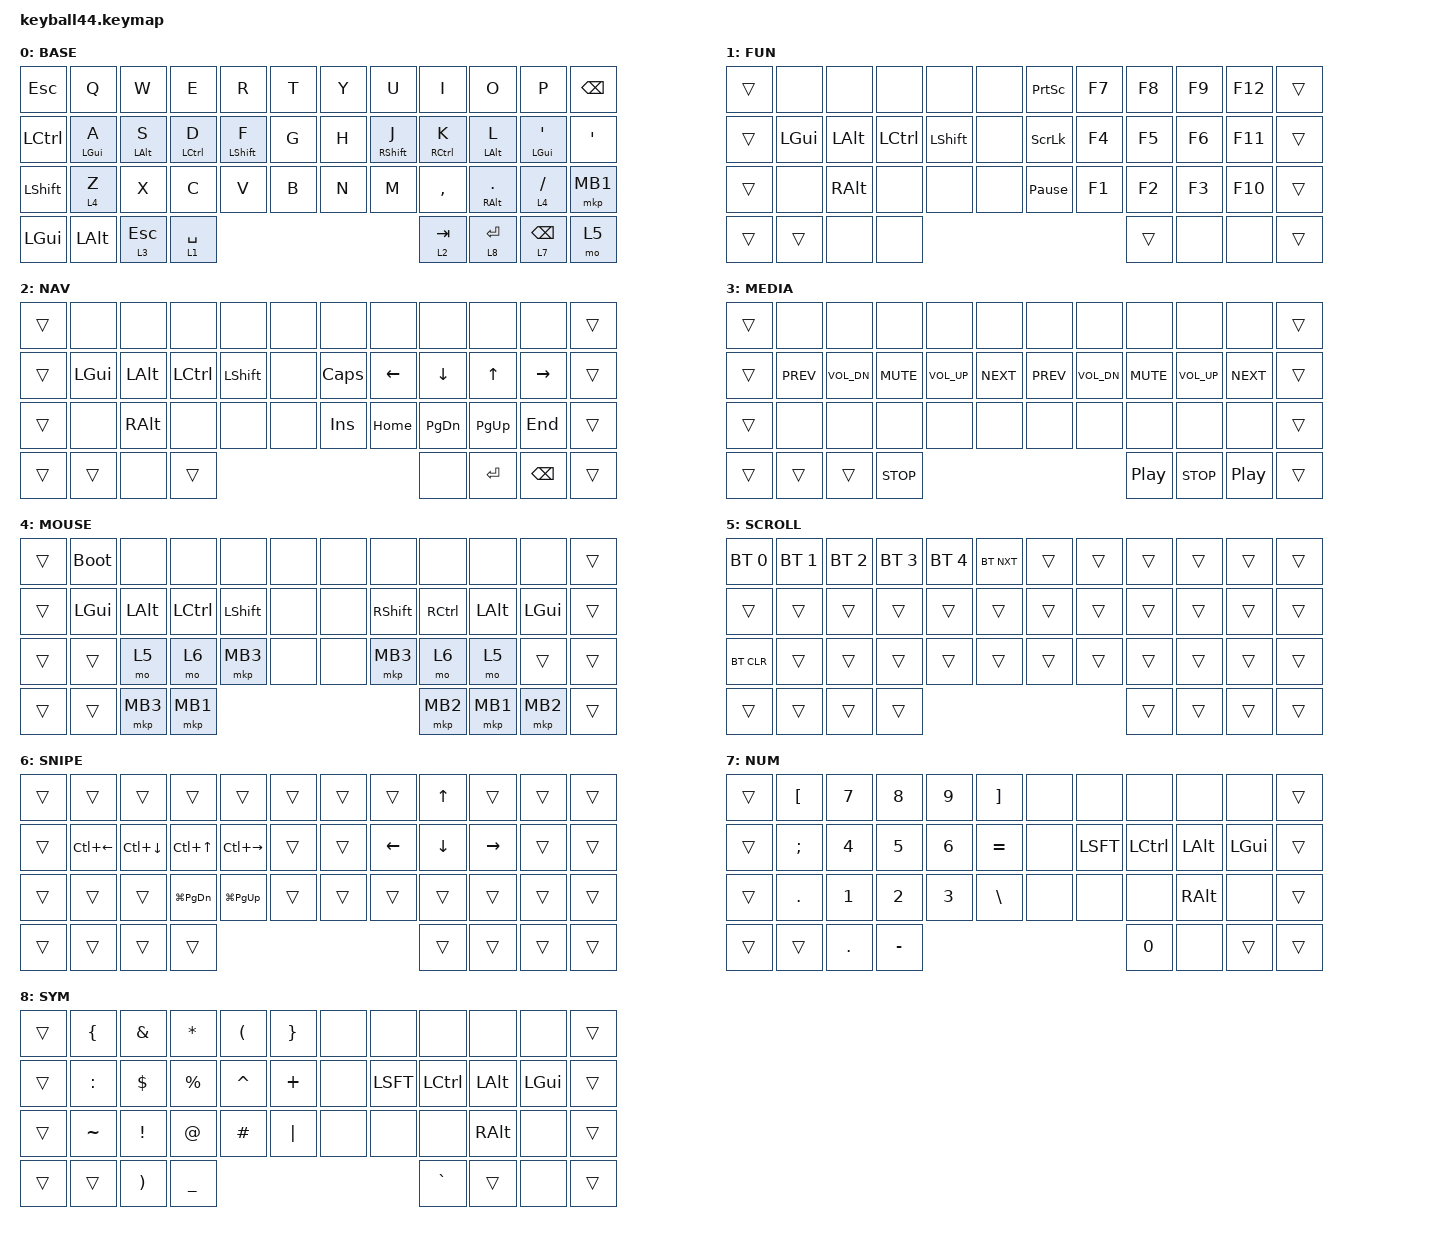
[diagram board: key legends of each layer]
#define BASE   0
#define FUN    1
#define NAV    2
#define MEDIA  3
#define MOUSE  4
#define SCROLL 5
#define SNIPE  6
#define ADJUST 7
#define NUM    8
#define SYM    9

#include <behaviors/mouse_keys.dtsi>
#include <dt-bindings/zmk/mouse.h>
#include <behaviors.dtsi>
#include <dt-bindings/zmk/bt.h>
#include <dt-bindings/zmk/keys.h>
#include <dt-bindings/zmk/pointing.h>

&lt {
    tapping-term-ms = <240>;
    flavor = "balanced";
    quick-tap-ms = <150>;
};

&mt {
    tapping-term-ms = <200>;
    flavor = "tap-preferred";
    quick-tap-ms = <150>;
};

&caps_word { continue-list = <UNDERSCORE MINUS>; };

/ {
    keymap {
        compatible = "zmk,keymap";

        // Keyball binding order per row:
        //   [outer-L] [Q..T] [Y..P] [outer-R]
        // Thumb row:
        //   [LGUI] [LALT] [ESC/MEDIA] [SPC/NAV] [TAB/FUN]  [ENT/SYM] [BSPC/NUM]  [SCROLL]
        //
        // Dilemma JSON right half is stored outer→inner (P=idx20, Y=idx24).
        // Keyball binding order is inner→outer (Y first), so right columns are reversed:
        //   col6(Y)=idx+4, col7(U)=idx+3, col8(I)=idx+2, col9(O)=idx+1, col10(P)=idx+0

        default_layer {
            label = "BASE";
            bindings = <
&kp ESCAPE      &kp Q       &kp W         &kp E        &kp R        &kp T                   &kp Y            &kp U        &kp I        &kp O         &kp P         &kp BACKSPACE
&kp LCTRL       &mt LGUI A  &mt LALT S    &mt LCTRL D  &mt LSHFT F  &kp G                   &kp H            &mt RSHFT J  &mt RCTRL K  &mt LALT L    &mt LGUI SQT  &kp SQT
&kp LEFT_SHIFT  &lt 4 Z     &kp X         &kp C        &kp V        &kp B                   &kp N            &kp M        &kp COMMA    &mt RALT DOT  &lt 4 SLASH   &mkp MB1
&kp LGUI        &kp LALT    &lt 3 ESCAPE  &lt 1 SPACE  &lt 2 TAB               &lt 8 ENTER  &lt 7 BACKSPACE                                                        &mo 5
            >;
        };

        // Dilemma layer 1 — activated by TAB hold
        // L: mods on home row, RALT on X
        // R: PSCRN/SLCK/PAUSE on Y/H/N col; F7-F9/F4-F6/F1-F3 across; F12/F11/F10 on P col

        fun_layer {
            label = "FUN";
            bindings = <
&trans  &none     &none     &none      &none      &none             &kp PSCRN        &kp F7  &kp F8  &kp F9  &kp F12  &trans
&trans  &kp LGUI  &kp LALT  &kp LCTRL  &kp LSHFT  &none             &kp SLCK         &kp F4  &kp F5  &kp F6  &kp F11  &trans
&trans  &none     &kp RALT  &none      &none      &none             &kp PAUSE_BREAK  &kp F1  &kp F2  &kp F3  &kp F10  &trans
&trans  &trans    &none     &none      &trans                &none  &none                                             &trans
            >;
        };

        // Dilemma layer 2 — activated by SPACE hold
        // R: CAPS/arrows on H row; INS/HOME/PGDN/PGUP/END on bottom row

        nav_layer {
            label = "NAV";
            bindings = <
&trans  &none     &none     &none      &none      &none                 &none          &none     &none      &none      &none      &trans
&trans  &kp LGUI  &kp LALT  &kp LCTRL  &kp LSHFT  &none                 &kp CAPS       &kp LEFT  &kp DOWN   &kp UP     &kp RIGHT  &trans
&trans  &none     &kp RALT  &none      &none      &none                 &kp INS        &kp HOME  &kp PG_DN  &kp PG_UP  &kp END    &trans
&trans  &trans    &none     &trans     &none                 &kp ENTER  &kp BACKSPACE                                             &trans
            >;
        };

        // Dilemma layer 3 — activated by ESC hold
        // Both halves mirror: MPRV/VOLD/MUTE/VOLU/MNXT on home row
        // RM_TOGG omitted (no RGB on Keyball)

        media_layer {
            label = "MEDIA";
            bindings = <
&trans  &none       &none         &none       &none         &none                       &none       &none         &none       &none         &none       &trans
&trans  &kp C_PREV  &kp C_VOL_DN  &kp C_MUTE  &kp C_VOL_UP  &kp C_NEXT                  &kp C_PREV  &kp C_VOL_DN  &kp C_MUTE  &kp C_VOL_UP  &kp C_NEXT  &trans
&trans  &none       &none         &none       &none         &none                       &none       &none         &none       &none         &none       &trans
&trans  &trans      &trans        &kp C_STOP  &kp C_PP                      &kp C_STOP  &kp C_PP                                                        &trans
            >;
        };

        // Dilemma layer 4 — activated by Z or / hold
        // CUSTOM(6)=DRGSCRL→&mo SCROLL, CUSTOM(4)=SNIPING→&mo SNIPE
        // RESET→&bootloader; mouse buttons on thumbs

        mouse_layer {
            label = "MOUSE";
            bindings = <
&trans  &bootloader  &none     &none      &none      &none                &none     &none      &none      &none     &none     &trans
&trans  &kp LGUI     &kp LALT  &kp LCTRL  &kp LSHFT  &none                &none     &kp RSHFT  &kp RCTRL  &kp LALT  &kp LGUI  &trans
&trans  &trans       &mo 5     &mo 6      &mkp MB3   &none                &none     &mkp MB3   &mo 6      &mo 5     &trans    &trans
&trans  &trans       &mkp MB3  &mkp MB1   &mkp MB2              &mkp MB1  &mkp MB2                                            &trans
            >;
        };

        // Keyball-specific: BT switching on top row, scroll layer active via dedicated thumb

        scroll_layer {
            label = "SCROLL";
            bindings = <
&bt BT_SEL 0  &bt BT_SEL 1  &bt BT_SEL 2  &bt BT_SEL 3  &bt BT_SEL 4  &bt BT_NXT              &trans  &trans  &trans  &trans  &trans  &trans
&trans        &trans        &trans        &trans        &trans        &trans                  &trans  &trans  &trans  &trans  &trans  &trans
&bt BT_CLR    &trans        &trans        &trans        &trans        &trans                  &trans  &trans  &trans  &trans  &trans  &trans
&trans        &trans        &trans        &trans        &trans                        &trans  &trans                                  &trans
            >;
        };

        // Keyball-specific: snipe mode; arrows on right home row

        snipe_layer {
            label = "SNIPE";
            bindings = <
&trans  &trans        &trans        &trans            &trans         &trans              &trans  &trans    &kp UP_ARROW  &trans     &trans  &trans
&trans  &kp LC(LEFT)  &kp LC(DOWN)  &kp LC(UP_ARROW)  &kp LC(RIGHT)  &trans              &trans  &kp LEFT  &kp DOWN      &kp RIGHT  &trans  &trans
&trans  &trans        &trans        &kp LG(PG_DN)     &kp LG(PG_UP)  &trans              &trans  &trans    &trans        &trans     &trans  &trans
&trans  &trans        &trans        &trans            &trans                     &trans  &trans                                             &trans
            >;
        };

        // Dilemma layer 5 — activated by BSPC hold
        // L: numpad cluster; thumbs: MINUS/0/DOT override the hold-tap keys
        // R: mods on home row, RALT on dot column

        number_layer {
            label = "NUM";
            bindings = <
&trans  &kp LBKT  &kp N7   &kp N8     &kp N9  &kp RBKT                  &none   &none     &none     &none     &none     &trans
&trans  &kp SEMI  &kp N4   &kp N5     &kp N6  &kp EQUAL                 &none   &kp LSFT  &kp LCTL  &kp LALT  &kp LGUI  &trans
&trans  &kp DOT   &kp N1   &kp N2     &kp N3  &kp BACKSLASH             &none   &none     &none     &kp RALT  &none     &trans
&trans  &trans    &kp DOT  &kp MINUS  &kp N0                     &none  &trans                                          &trans
            >;
        };

        // Dilemma layer 6 — activated by ENT hold
        // L: symbol cluster; thumbs: )/_ /` override the hold-tap keys
        // R: mods on home row, RALT on dot column

        symbol_layer {
            label = "SYM";
            bindings = <
&trans  &kp LBRC   &kp AMPS  &kp ASTERISK  &kp LPAR   &kp RBRC              &none  &none     &none     &none     &none     &trans
&trans  &kp COLON  &kp DLLR  &kp PRCNT     &kp CARET  &kp PLUS              &none  &kp LSFT  &kp LCTL  &kp LALT  &kp LGUI  &trans
&trans  &kp TILDE  &kp EXCL  &kp AT        &kp HASH   &kp PIPE              &none  &none     &none     &kp RALT  &none     &trans
&trans  &trans     &kp RPAR  &kp UNDER     &kp GRAVE                &trans  &none                                          &trans
            >;
        };
    };
};
